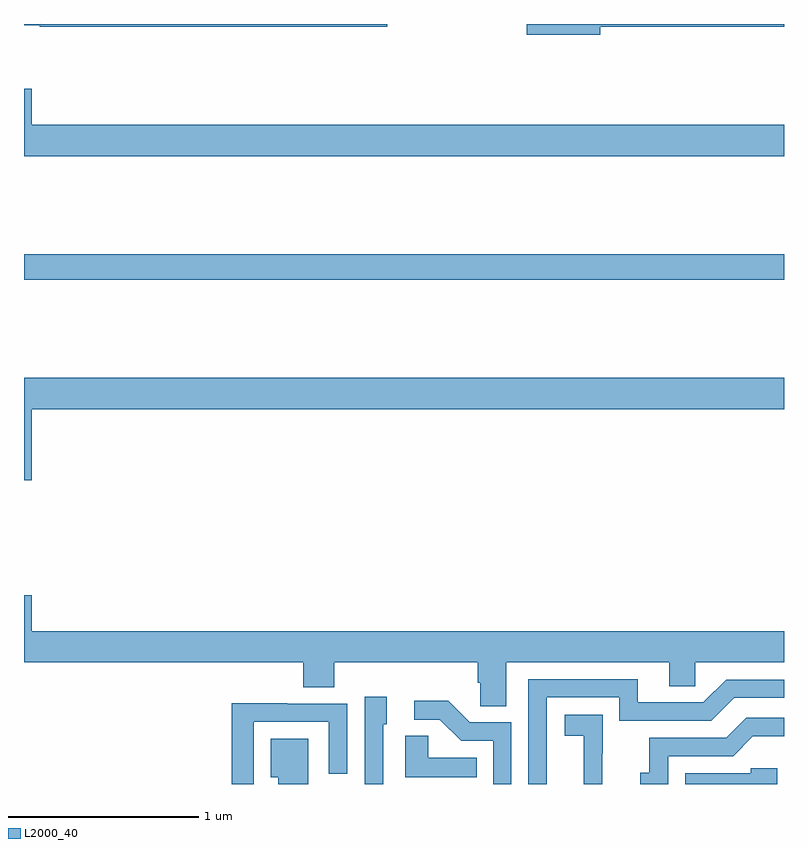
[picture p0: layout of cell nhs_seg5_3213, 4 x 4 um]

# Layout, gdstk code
import gdstk
lib = gdstk.Library(unit=1e-6, precision=1e-09)
def R(c, l, rs):  # rectangles x0, y0, x1, y1
    for r in rs: c.add(gdstk.rectangle(r[:2], r[2:], *l))
def P(c, l, *ps):  # polygons
    for p in ps: c.add(gdstk.Polygon(p, *l))
L2000_40 = (2000, 40)

nhs_seg5_3213 = lib.new_cell('nhs_seg5_3213')
R(nhs_seg5_3213, L2000_40, [(297,845.452,301,845.588)])
P(nhs_seg5_3213, L2000_40, [(300.034,846.784),(301,846.784),(301,846.799),(299.646,846.799),(299.646,846.742),(300.034,846.742)],
  [(298.913,846.799),(297,846.799),(297,846.792),(297.082,846.792),(297.082,846.784),(298.913,846.784)],
  [(301,846.268),(297.04,846.268),(297.04,846.457),(297,846.457),(297,846.104),(301,846.104)],
  [(297.04,844.772),(301,844.772),(301,844.936),(297,844.936),(297,844.398),(297.04,844.398)],
  [(299.539,843.44),(300.395,843.44),(300.395,843.313),(300.534,843.313),(300.534,843.44),(301,843.44),(301,843.604),(297.04,843.604),(297.04,843.793),(297,843.793),(297,843.44),(298.469,843.44),(298.469,843.307),(298.634,843.307),(298.634,843.44),(299.387,843.44),(299.387,843.331),(299.4,843.331),(299.4,843.208),(299.539,843.208)],
  [(299.751,843.255),(300.132,843.255),(300.132,843.132),(300.618,843.132),(300.738,843.252),(301,843.252),(301,843.348),(300.696,843.348),(300.576,843.228),(300.229,843.228),(300.229,843.351),(299.655,843.351),(299.655,842.799),(299.751,842.799)],
  [(298.89,843.114),(298.909,843.114),(298.909,843.259),(298.794,843.259),(298.794,842.799),(298.89,842.799)],
  [(299.565,843.123),(299.346,843.123),(299.233,843.236),(299.055,843.236),(299.055,843.138),(299.189,843.138),(299.3,843.027),(299.469,843.027),(299.469,842.799),(299.565,842.799)],
  [(298.209,843.126),(298.605,843.126),(298.605,842.853),(298.701,842.853),(298.701,843.222),(298.385,843.222),(298.385,843.224),(298.093,843.224),(298.093,842.799),(298.209,842.799)],
  [(300.044,842.957),(300.045,842.957),(300.045,843.163),(299.847,843.163),(299.847,843.053),(299.945,843.053),(299.945,842.825),(299.946,842.825),(299.946,842.799),(300.044,842.799)],
  [(300.39,842.946),(300.732,842.946),(300.836,843.05),(301,843.05),(301,843.147),(300.8,843.147),(300.695,843.042),(300.292,843.042),(300.292,842.857),(300.243,842.857),(300.243,842.799),(300.39,842.799)],
  [(299.384,842.938),(299.127,842.938),(299.127,843.053),(299.006,843.053),(299.006,842.834),(299.384,842.834)],
  [(298.495,843.037),(298.298,843.037),(298.298,842.834),(298.337,842.834),(298.337,842.799),(298.495,842.799)],
  [(300.965,842.883),(300.825,842.883),(300.825,842.856),(300.48,842.856),(300.48,842.799),(300.965,842.799)])

lib.write_gds('nhs_seg5_3213.gds')
